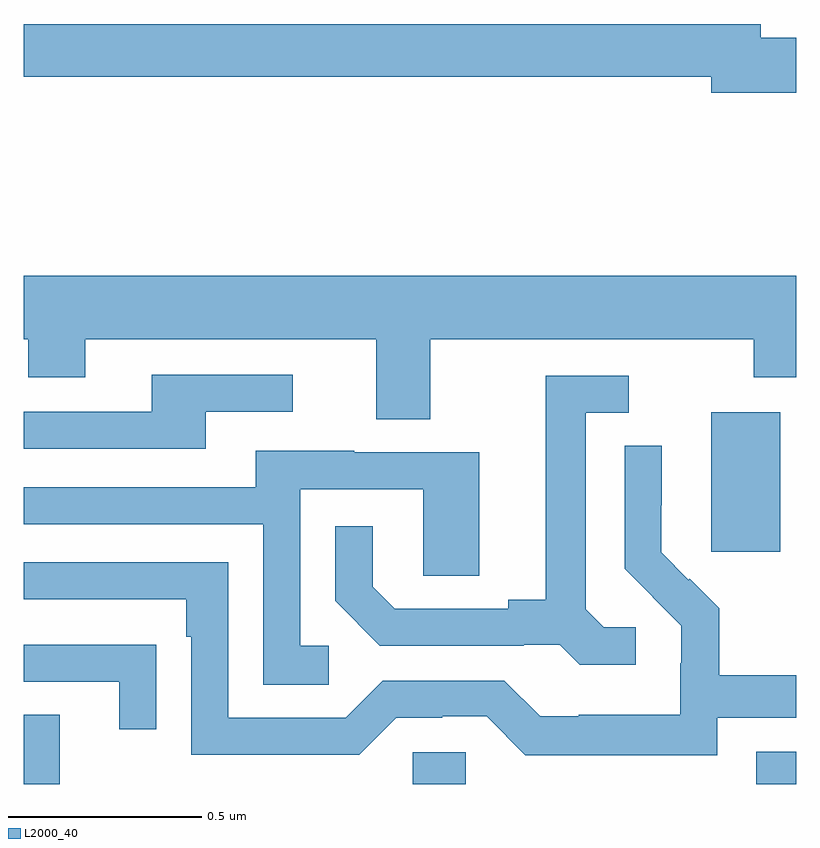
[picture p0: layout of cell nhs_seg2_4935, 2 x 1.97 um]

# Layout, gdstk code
import gdstk
lib = gdstk.Library(unit=1e-6, precision=1e-09)
def R(c, l, rs):  # rectangles x0, y0, x1, y1
    for r in rs: c.add(gdstk.rectangle(r[:2], r[2:], *l))
def P(c, l, *ps):  # polygons
    for p in ps: c.add(gdstk.Polygon(p, *l))
L2000_40 = (2000, 40)

nhs_seg2_4935 = lib.new_cell('nhs_seg2_4935')
R(nhs_seg2_4935, L2000_40, [(172,663.8,172.093,663.979), (173.007,663.8,173.145,663.882), (173.897,663.8,174,663.883), (173.78,664.401,173.959,664.762)])
P(nhs_seg2_4935, L2000_40, [(174,665.732),(173.908,665.732),(173.908,665.768),(172,665.768),(172,665.632),(173.78,665.632),(173.78,665.59),(174,665.59)],
  [(173.053,664.952),(173.89,664.952),(173.89,664.853),(174,664.853),(174,665.116),(172,665.116),(172,664.952),(172.012,664.952),(172.012,664.853),(172.159,664.853),(172.159,664.952),(172.913,664.952),(172.913,664.744),(173.053,664.744)],
  [(172.471,664.764),(172.696,664.764),(172.696,664.86),(172.331,664.86),(172.331,664.764),(172,664.764),(172,664.668),(172.471,664.668)],
  [(173.584,664.206),(173.502,664.206),(173.455,664.253),(173.455,664.761),(173.566,664.761),(173.566,664.857),(173.351,664.857),(173.351,664.277),(173.255,664.277),(173.255,664.254),(172.96,664.254),(172.903,664.311),(172.903,664.468),(172.806,664.468),(172.806,664.274),(172.922,664.158),(173.294,664.158),(173.294,664.161),(173.388,664.161),(173.44,664.109),(173.584,664.109)],
  [(173.796,663.972),(174,663.972),(174,664.081),(173.801,664.081),(173.801,664.255),(173.724,664.332),(173.721,664.329),(173.651,664.4),(173.651,664.522),(173.652,664.522),(173.652,664.676),(173.556,664.676),(173.556,664.358),(173.629,664.285),(173.628,664.284),(173.702,664.21),(173.702,664.113),(173.7,664.113),(173.7,663.979),(173.437,663.979),(173.437,663.975),(173.337,663.975),(173.244,664.068),(172.929,664.068),(172.833,663.972),(172.53,663.972),(172.53,664.374),(172,664.374),(172,664.278),(172.421,664.278),(172.421,664.181),(172.434,664.181),(172.434,663.876),(172.869,663.876),(172.965,663.972),(173.084,663.972),(173.084,663.975),(173.199,663.975),(173.299,663.875),(173.796,663.875)],
  [(172.789,664.158),(172.716,664.158),(172.716,664.563),(173.034,664.563),(173.034,664.339),(173.179,664.339),(173.179,664.659),(172.855,664.659),(172.855,664.663),(172.601,664.663),(172.601,664.569),(172,664.569),(172,664.473),(172.62,664.473),(172.62,664.057),(172.789,664.057)],
  [(172.343,664.16),(172.241,664.16),(172.241,664.161),(172,664.161),(172,664.065),(172.247,664.065),(172.247,663.942),(172.343,663.942)])

lib.write_gds('nhs_seg2_4935.gds')
